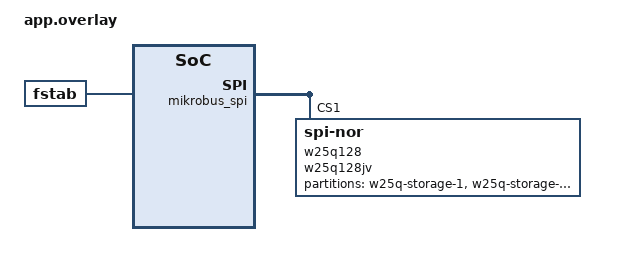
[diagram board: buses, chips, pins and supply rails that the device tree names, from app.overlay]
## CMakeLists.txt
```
cmake_minimum_required(VERSION 3.20.0)

set(BOARD nucleo_f446re)
set(SHIELD launch_mikroe)

find_package(Zephyr REQUIRED HINTS $ENV{ZEPHYR_BASE})
project(sample_logging LANGUAGES C)

FILE(GLOB app_sources src/*.c)
target_sources(app PRIVATE ${app_sources})
```

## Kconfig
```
mainmenu "Data logging MWE"

config CLEAR_STORAGE_PARTITION
	bool "Clear the flash area before mounting"
	help
		Use this to force file system rebuild

source "Kconfig.zephyr"
```

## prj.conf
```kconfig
# Outputs
CONFIG_SERIAL=y
CONFIG_STDOUT_CONSOLE=y
CONFIG_DEBUG=y
# LOG statements at different levels
CONFIG_LOG=y
# Floating-point formatting is hard so it's its own thing
CONFIG_CBPRINTF_FP_SUPPORT=y

# enable shell
CONFIG_SHELL=y
CONFIG_FILE_SYSTEM_SHELL=y

# Flash chip is SPI
CONFIG_SPI=y
CONFIG_FLASH=y
# LittleFS requires a flash map device
CONFIG_FLASH_MAP=y
CONFIG_FLASH_PAGE_LAYOUT=y

# Use filesystem
CONFIG_FILE_SYSTEM=y
# Use LittleFS as the filesystem
CONFIG_FILE_SYSTEM_LITTLEFS=y
# LittleFS is mounted on a flash map device
CONFIG_FS_LITTLEFS_FMP_DEV=y 

# LittleFS's buffers get large
CONFIG_MAIN_STACK_SIZE=4096 

# incantations from the Zephyr shell sample
CONFIG_MAIN_STACK_SIZE=4096 
CONFIG_HEAP_MEM_POOL_SIZE=16384
CONFIG_SHELL_BACKEND_SERIAL_RX_RING_BUFFER_SIZE=128
```

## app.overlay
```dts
/ {
	chosen {
		zephyr,console = &usart2;
		zephyr,shell-uart = &usart2;
	};

	aliases {
		led = &shield_led; 
		storage = &w25q128;
		logfs = &lfs1;
	};

	fstab {
		compatible = "zephyr,fstab";
		lfs1: lfs1 {
			compatible = "zephyr,fstab,littlefs";
			mount-point = "/lfs1";
			partition = <&ext_storage_1>;
			automount; // automatically mount during boot-up

			// the binding reccomends defaults for these
			read-size = <16>;
			prog-size = <16>;
			cache-size = <64>; // may need to grow for optimization
			lookahead-size = <32>;
			block-cycles = <(90 * 1000)>; 
		};
		lfs2: lfs2 {
			compatible = "zephyr,fstab,littlefs";
			mount-point = "/lfs2";
			partition = <&ext_storage_2>;

			read-size = <16>;
			prog-size = <16>;
			cache-size = <64>; 
			lookahead-size = <32>;
			block-cycles = <(90 * 1000)>; 
		};
	};
};

&mikrobus_spi {
	w25q128: w25q128jv@1 {
		compatible = "jedec,spi-nor"; // conforms to JEDEC SFDP
		reg = <1>; // connected to to connector 1

		size = <DT_SIZE_M(128)>; // w25q128 - 128 MBit (S 11, p.75) 
		jedec-id = [ef 40 18]; // 0xef4018 (Table 8.1.1, p.22)
		spi-max-frequency = <(5 * 1000000)>; 
		// fR = 50 MHz (Table 9.6, p.65)
		// 30 MHz for direct connection over headers
		// 5 MHz for the Launch Mikroe click shield (level-shifting circuiry)

		has-dpd;
		// Power-down 0xB9 (S 8.2.21)
		t-enter-dpd = <(3 * 1000)>; // tDP = 3 us (Table 9.6, p.66)
		// Release Power-down 0xAB (S 8.2.22)
		t-exit-dpd = <(3 * 1000)>; // tRES1 = 3 us (Table 9.6, p.66)

		partitions {
			compatible = "fixed-partitions";
			#address-cells = <1>;
			#size-cells = <1>;

			/* NOTE: jedec,spi-nor size is bits, but fixed-partitions address and
			* size are in bytes.*/
			ext_storage_1: partition@0 {
				label = "w25q-storage-1";
				reg = <0x0 DT_SIZE_M(1)>;
			};
			ext_storage_2: partition@100000 {
				label = "w25q-storage-2";
				reg = <0x100000 DT_SIZE_M(7)>;
			};
			ext_storage_3: partition@800000 {
				label = "w25q-storage-3";
				reg = <0x800000 DT_SIZE_M(8)>;
			};
		};
	};
};
```

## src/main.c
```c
#include "zephyr/fs/fs_interface.h"
#include "zephyr/logging/log_core.h"
#include <sys/types.h>
#include <zephyr/kernel.h>
#include <zephyr/device.h>
#include <zephyr/devicetree.h>

#include <zephyr/drivers/gpio.h>
#include <zephyr/drivers/flash.h>
#include <zephyr/storage/flash_map.h>
#include <zephyr/fs/fs.h>
#include <zephyr/fs/littlefs.h>

#include <zephyr/logging/log.h>

LOG_MODULE_REGISTER(sample, LOG_LEVEL_DBG);

// node identifiers
// NOTE: Hardware prerequisites
// 	Launch Mikroe Click Shield
// 	W25Q128JV breakout connected to port 1

// devicetree gets
#define LED_NODE DT_ALIAS(led)
#define FLASH_NODE DT_ALIAS(storage)

// create mount point structure from devicetree
#define LFS2 DT_NODELABEL(lfs2)
// NOTE: The sample uses "PARTITION_NODE" to refer to the fstab node, not the
// partition itself
FS_FSTAB_DECLARE_ENTRY(LFS2);
struct fs_mount_t *lfs2_mnt_p = &FS_FSTAB_ENTRY(LFS2);

// create mount point structure from scratch
FS_LITTLEFS_DECLARE_CUSTOM_CONFIG(lfs3, 4, 16, 16, 64, 32);
// FS_LITTLEFS_DECLARE_DEFAULT_CONFIG(lfs3);
static struct fs_mount_t lfs3_mnt = {
	.type = FS_LITTLEFS,
	.fs_data = &lfs3,
	.storage_dev = (void*) FIXED_PARTITION_ID(ext_storage_3),
	.mnt_point = "/lfs3"
};

// create peripherals from devicetree
const struct gpio_dt_spec led = GPIO_DT_SPEC_GET(LED_NODE, gpios);
const struct device* flash = DEVICE_DT_GET(FLASH_NODE);

/// Statistics 

/**
 * @brief LOG_PRINTK the size, dividing to KiB or MiB if large enough
 * @param size	size to print
 */
void print_size(size_t size) {
	if (size < 1024) {
		LOG_PRINTK("%ud B", size);
	} else if (size < 1024 * 1024) {
		LOG_PRINTK("%.2f KiB", ((double) size) / 1024);
	} else {
		LOG_PRINTK("%.2f MiB", ((double) size) / (1024 * 1024));
	}
}

/**
 * @brief Print the output of fs_tell
 * @param file	pointer to currently open file structure
 */
void print_tell(struct fs_file_t* file) {
	off_t cur = fs_tell(file);
	LOG_INF("Tell: %ld", cur);
}

/**
 * @brief Print the stats of a file
 * @param fname		file name
 */
void print_stat(char* fname) {
	struct fs_dirent stat_dst; // destination for directory entry (file) stats
	int32_t ret = fs_stat(fname, &stat_dst);
	if (ret < 0) {
		LOG_ERR("Unable to stat %s: %d", fname, ret);
	} else {
		LOG_INF("%s is a %s of size %d", 
				stat_dst.name,
				stat_dst.type == FS_DIR_ENTRY_FILE ? "file" : "directory",
				stat_dst.size);
	}
}


/**
 * @brief Print the stats of the file system the file is on
 * @param fname		file name
 */
void print_statvfs(char* fname) {
	struct fs_statvfs fs_stat_dst; // destination for file system stats
	int32_t ret = fs_statvfs(fname, &fs_stat_dst);
	if (ret < 0) {
		LOG_ERR("Unable to stat the filesystem of %s: %d", fname, ret);
	} else {
		LOG_INF("%s is on a volume with \r\n\t%lu blocks (%lu free) of %lu bytes each", 
				fname, fs_stat_dst.f_blocks, fs_stat_dst.f_bfree, 
				fs_stat_dst.f_frsize);
		LOG_PRINTK("\t");
		print_size(fs_stat_dst.f_blocks * fs_stat_dst.f_frsize);
		LOG_PRINTK(" (");
		print_size(fs_stat_dst.f_bfree * fs_stat_dst.f_frsize);
		LOG_PRINTK(" free)\n");
	}
}

/**
 * @brief Clear the entire flash area
 * @param fa_id		ID of the flash area, usually a result of FIXED_PARTITION_ID
 */
int32_t clear_flash_area(uint8_t fa_id) {
	int32_t ret = 0;
	const struct flash_area* area_p;
	ret = flash_area_open(fa_id, &area_p);


	if (ret < 0) {
		LOG_ERR("Failed to open flash area %d", fa_id);
		return ret;
	}

	LOG_INF("Area %u at 0x%x on %s for %u bytes\n",
			fa_id, (uint32_t) area_p->fa_off, 
			area_p->fa_dev->name,
			area_p->fa_size);

	LOG_INF("Erasing...");
	ret = flash_area_erase(area_p, 0, area_p->fa_size);
	if (ret < 0) {
		LOG_ERR("Failed to erase flash area %d", fa_id);
		return ret;
	}
	flash_area_close(area_p);
	return ret;
}


/// Samples

/**
 * @brief Treat the first four bytes of the file and increment
 * @param fname 	File name to increment
 */
void increment_int32(char* fname) {
	int32_t ret = 0;
	int32_t count = -1;

	struct fs_file_t file;

	fs_file_t_init(&file); // zeros out all the contents
						   
	ret = fs_open(&file, fname, FS_O_CREATE | FS_O_RDWR);
	if (ret < 0) {
		LOG_ERR("Failed to open %s: %d\n", fname, ret);
		return;
	}

	// get the counter from the file
	ret = fs_read(&file, (uint8_t*) (&count), sizeof(count));
	if (ret < 0) {
		LOG_ERR("Failed to read counter: %d\n", ret);
		goto exit;
	}

	count++;
	LOG_INF("Boot counter value: %d", count);

	// go back to the start of the file
	ret = fs_seek(&file, 0, FS_SEEK_SET);
	if (ret < 0) {
		LOG_ERR("Failed to seek to start: %d\n", ret);
		goto exit;
	}

	// write the counter to the file
	ret = fs_write(&file, (uint8_t*) (&count), sizeof(count));
	if (ret < 0) {
		LOG_ERR("Failed to write new count: %d\n", ret);
		goto exit;
	}
	
exit:
	ret = fs_close(&file);
	if (ret < 0) {
		LOG_ERR("Failed to close %s: %d\n", fname, ret);
	}
	return;
}

void write_test_pattern(char* fname) {
	int32_t ret = 0;
	char test_pattern[] = "Flash testing pattern 1";
	struct fs_file_t file;
	fs_file_t_init(&file);

	ret = fs_open(&file, fname, FS_O_CREATE | FS_O_RDWR);
	if (ret < 0) {
		LOG_ERR("Failed to open %s: %d\n", fname, ret);
		return;
	}
	
	// not ret-checking the rest, because if open() worked the rest probably do
	fs_truncate(&file, sizeof(test_pattern));
	fs_write(&file, (void*) test_pattern, sizeof(test_pattern));
	
	LOG_INF("File and filesystem info:");
	print_tell(&file);
	print_statvfs(fname);

	fs_truncate(&file, 2 * sizeof(test_pattern));
	LOG_INF("File and filesystem info after expansion:");
	print_tell(&file);
	print_stat(fname);
	print_statvfs(fname);
	
	fs_close(&file);
}

void read_test_pattern(char * fname) {
	int32_t ret = 0;
	char test_pattern[256];
	
	struct fs_file_t file;
	fs_file_t_init(&file);

	ret = fs_open(&file, fname, FS_O_CREATE | FS_O_RDWR);
	if (ret < 0) {
		LOG_ERR("Failed to open %s: %d\n", fname, ret);
		return;
	}
	
	ret = fs_read(&file, test_pattern, sizeof(test_pattern));
	if (ret < 0) {
		LOG_ERR("Failed to read from %s: %d\n", fname, ret);
	} else {
		LOG_INF("Read test pattern: %s\n", test_pattern);
	}


	fs_close(&file);
}

int main(void) {
	if (!gpio_is_ready_dt(&led)) {
		LOG_ERR("GPIO is not ready\n");
		return 0;
	}

	if (gpio_pin_configure_dt(&led, GPIO_OUTPUT_ACTIVE) < 0) {
		LOG_ERR("Unable to configure LED output pin\n");
		return 0;
	}

	if (!device_is_ready(flash)) {
		LOG_ERR("Device %s is not ready\n", flash->name);
		return 0;
	}

	char fname_1[] = "/lfs1/boot_count";
	char fname_2[] = "/lfs2/boot_count";
	char fname_3[] = "/lfs3/test_pattern";
	int32_t ret = 0;

	
	// LFS1 activities
	increment_int32(fname_1);
	print_stat(fname_1);
	print_statvfs(fname_1);
	
	// LFS2 activities
	ret = fs_mount(lfs2_mnt_p);
	if (ret < 0) {
		LOG_ERR("Failed to mount LFS 2: %d", ret);
		goto lfs3;
	}
	increment_int32(fname_2);
	
lfs3:
	ret = fs_mount(&lfs3_mnt);
	if (ret < 0) {
		LOG_ERR("Failed to mount LFS 3: %d", ret);
		goto forever;
	}
	write_test_pattern(fname_3);
	read_test_pattern(fname_3);

forever:
	// increment_int32(fname_2);

	// forever
	// just proves that the thing is alive
	while(1) {
		gpio_pin_toggle_dt(&led);
		k_msleep(100);
	}
	return 0;
}
```
